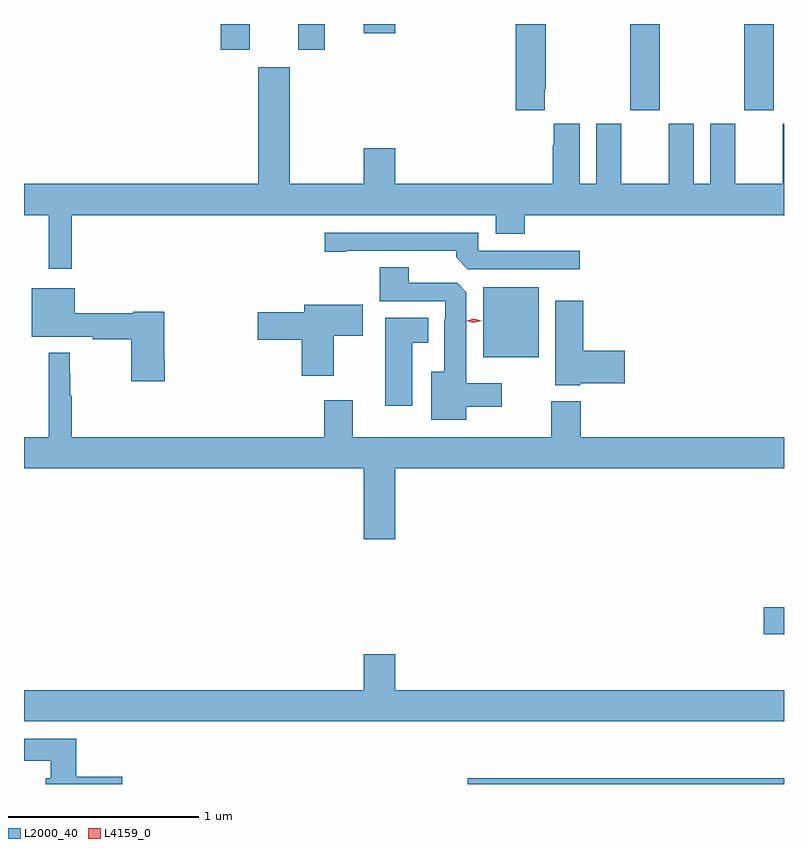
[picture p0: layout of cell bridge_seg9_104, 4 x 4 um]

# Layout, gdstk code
import gdstk
lib = gdstk.Library(unit=1e-6, precision=1e-09)
def R(c, l, rs):  # rectangles x0, y0, x1, y1
    for r in rs: c.add(gdstk.rectangle(r[:2], r[2:], *l))
def P(c, l, *ps):  # polygons
    for p in ps: c.add(gdstk.Polygon(p, *l))
L2000_40 = (2000, 40)
L4159_0 = (4159, 0)

bridge_seg9_104 = lib.new_cell('bridge_seg9_104')
R(bridge_seg9_104, L2000_40, [(776.942,1170.782,778.607,1170.811), (778.5,1171.57,778.607,1171.712), (777.023,1173.029,777.316,1173.397), (777.799,1174.329,777.954,1174.782), (778.399,1174.329,778.554,1174.782), (775.643,1174.647,775.795,1174.782), (776.051,1174.647,776.191,1174.782), (776.396,1174.734,776.56,1174.782)])
P(bridge_seg9_104, L2000_40, [(777.349,1174.441),(777.354,1174.441),(777.354,1174.782),(777.194,1174.782),(777.194,1174.329),(777.349,1174.329)],
  [(774.859,1173.776),(777.089,1173.776),(777.089,1173.677),(777.242,1173.677),(777.242,1173.776),(778.607,1173.776),(778.607,1174.258),(778.601,1174.258),(778.601,1173.94),(778.351,1173.94),(778.351,1174.258),(778.22,1174.258),(778.22,1173.94),(778.132,1173.94),(778.132,1174.258),(778.001,1174.258),(778.001,1173.94),(777.751,1173.94),(777.751,1174.258),(777.62,1174.258),(777.62,1173.94),(777.532,1173.94),(777.532,1174.258),(777.395,1174.258),(777.395,1174.145),(777.389,1174.145),(777.389,1173.94),(776.56,1173.94),(776.56,1174.129),(776.396,1174.129),(776.396,1173.94),(776.005,1173.94),(776.005,1174.555),(775.841,1174.555),(775.841,1173.94),(774.607,1173.94),(774.607,1173.776),(774.737,1173.776),(774.737,1173.495),(774.859,1173.495)],
  [(777.532,1173.588),(776.997,1173.588),(776.997,1173.684),(776.19,1173.684),(776.19,1173.583),(776.302,1173.583),(776.302,1173.588),(776.882,1173.588),(776.882,1173.554),(776.943,1173.492),(777.532,1173.492)],
  [(776.935,1172.768),(777.121,1172.768),(777.121,1172.89),(776.935,1172.89),(776.935,1173.371),(776.886,1173.42),(776.632,1173.42),(776.632,1173.503),(776.48,1173.503),(776.48,1173.324),(776.823,1173.324),(776.823,1173.227),(776.819,1173.227),(776.819,1172.953),(776.75,1172.953),(776.75,1172.699),(776.935,1172.699)],
  [(775.349,1173.013),(775.344,1173.013),(775.344,1173.268),(775.182,1173.268),(775.182,1173.26),(774.874,1173.26),(774.874,1173.391),(774.647,1173.391),(774.647,1173.137),(774.97,1173.137),(774.97,1173.124),(775.171,1173.124),(775.171,1172.901),(775.349,1172.901)],
  [(777.534,1172.891),(777.769,1172.891),(777.769,1173.062),(777.551,1173.062),(777.551,1173.325),(777.404,1173.325),(777.404,1172.882),(777.534,1172.882)],
  [(776.236,1173.142),(776.389,1173.142),(776.389,1173.304),(776.081,1173.304),(776.081,1173.266),(775.836,1173.266),(775.836,1173.119),(776.069,1173.119),(776.069,1172.931),(776.236,1172.931)],
  [(776.65,1173.104),(776.734,1173.104),(776.734,1173.235),(776.507,1173.235),(776.507,1172.772),(776.65,1172.772)],
  [(777.383,1172.797),(777.383,1172.608),(776.338,1172.608),(776.338,1172.803),(776.186,1172.803),(776.186,1172.608),(774.859,1172.608),(774.859,1172.825),(774.851,1172.825),(774.851,1172.945),(774.848,1172.945),(774.848,1173.052),(774.737,1173.052),(774.737,1172.608),(774.607,1172.608),(774.607,1172.444),(776.396,1172.444),(776.396,1172.07),(776.56,1172.07),(776.56,1172.444),(778.607,1172.444),(778.607,1172.608),(777.536,1172.608),(777.536,1172.797)],
  [(778.607,1171.276),(776.56,1171.276),(776.56,1171.465),(776.396,1171.465),(776.396,1171.276),(774.607,1171.276),(774.607,1171.112),(778.607,1171.112)],
  [(775.123,1170.819),(774.881,1170.819),(774.881,1171.02),(774.607,1171.02),(774.607,1170.904),(774.749,1170.904),(774.749,1170.811),(774.722,1170.811),(774.722,1170.782),(775.123,1170.782)])
P(bridge_seg9_104, L4159_0, [(776.975,1173.21),(776.934,1173.22),(776.934,1173.22),(776.934,1173.22),(776.975,1173.23),(777.016,1173.22),(777.016,1173.22),(777.016,1173.22)])

lib.write_gds('bridge_seg9_104.gds')
